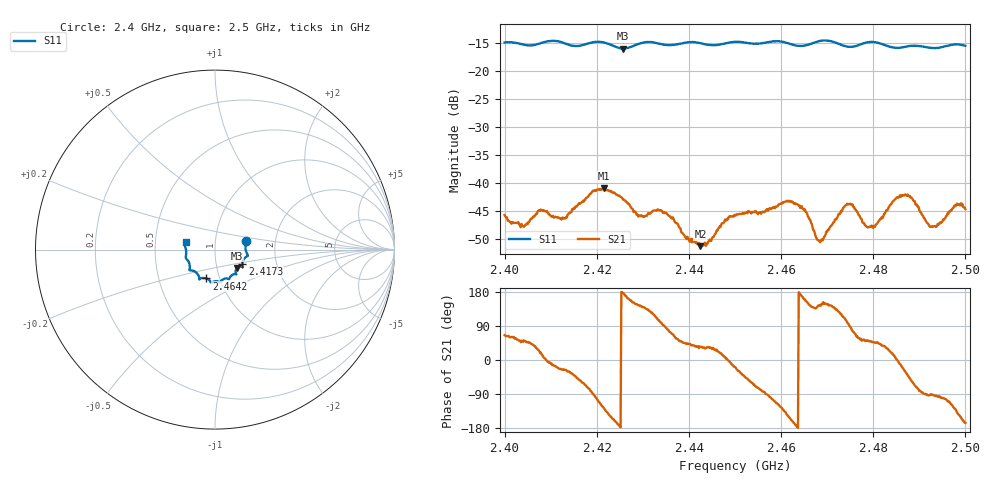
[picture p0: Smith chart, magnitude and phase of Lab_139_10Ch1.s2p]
# Hz S RI R 50
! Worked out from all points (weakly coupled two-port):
!   601 points, 2.4 GHz to 2.5 GHz, reference 50 ohm
!   highest |S21| = -40.89 dB at 2.4215 GHz (marker M1); lowest = -51.2 dB at 2.4425 GHz (marker M2)
!   lowest |S11| = -15.9 dB at 2.4257 GHz (marker M3), VSWR 1.38, Z = 62.4 - j13.1 ohm
!   |S11| at or under -10 dB: start of sweep to end of sweep
!   S12 and S22 are empty: the file has one direction only
!   S11 on the Smith chart (normalised r, x): 2.4 GHz: 1.41, +0.14; 2.4173 GHz: 1.34, -0.23; 2.4642 GHz: 0.86, -0.29; 2.5 GHz: 0.72, +0.06
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2.4e9  0.1737 0.0492  0.00215 0.00473  0 0  0 0
2.404e9  0.1716 0.0248  0.00277 0.00306  0 0  0 0
2.407667e9  0.1764 -0.0179  0.00533 0.00189  0 0  0 0
2.413e9  0.1733 -0.0402  0.00437 -0.00215  0 0  0 0
2.416667e9  0.1527 -0.0746  0.00362 -0.00567  0 0  0 0
2.417333e9  0.1522 -0.0821  0.00314 -0.00635  0 0  0 0
2.4215e9  0.1535 -0.0955  -0.00535 -0.00727  0 0  0 0
2.425667e9  0.122 -0.1027  -0.00715 0.000395  0 0  0 0
2.429167e9  0.1159 -0.1321  -0.0042 0.00302  0 0  0 0
2.433333e9  0.1128 -0.1365  -0.00154 0.00561  0 0  0 0
2.4425e9  0.0721 -0.1627  0.00224 0.00158  0 0  0 0
2.45e9  0.0295 -0.1807  0.00493 -0.00168  0 0  0 0
2.464167e9  -0.0481 -0.161  -0.00598 0.00069  0 0  0 0
2.466667e9  -0.0763 -0.1594  -0.0033 0.00278  0 0  0 0
2.468667e9  -0.087 -0.1657  -0.00251 0.00184  0 0  0 0
2.474333e9  -0.1001 -0.1323  -0.00107 0.00647  0 0  0 0
2.479e9  -0.1406 -0.1155  0.00257 0.00317  0 0  0 0
2.483333e9  -0.1405 -0.0897  0.00544 0.00269  0 0  0 0
2.4875e9  -0.1581 -0.0535  0.00603 -0.00512  0 0  0 0
2.492833e9  -0.1603 -0.0156  -0.0001 -0.00407  0 0  0 0
2.498e9  -0.1706 0.0314  -0.00441 -0.00461  0 0  0 0
2.5e9  -0.1636 0.0415  -0.00569 -0.00143  0 0  0 0
